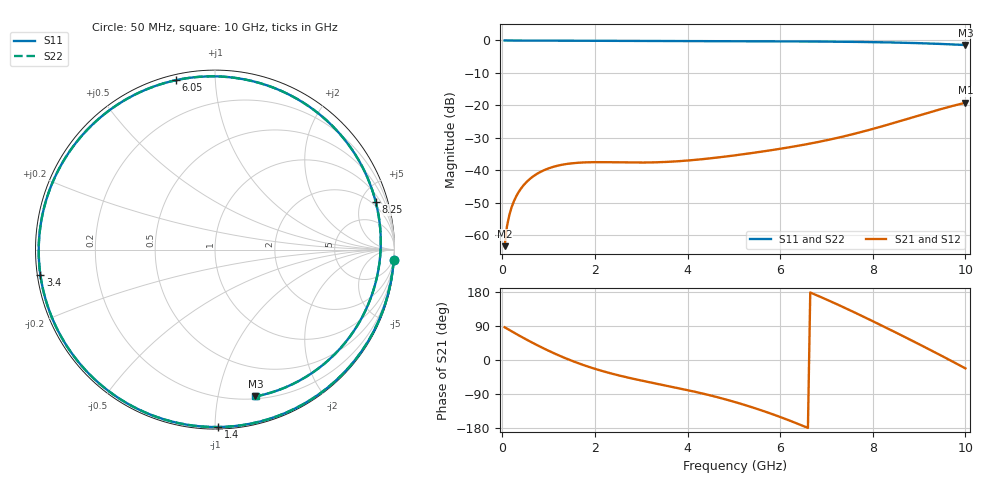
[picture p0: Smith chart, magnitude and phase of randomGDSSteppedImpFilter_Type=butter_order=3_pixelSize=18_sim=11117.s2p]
! freq	dB(S11)	phase(S11)	dB(S12)	phase(S12)
!  dB(S21)	phase(S21)	dB(S22)	phase(S22)
!S-par simulation data
#  GHz  S  DB  R 50
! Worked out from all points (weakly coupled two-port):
!   200 points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, 50 MHz to 10 GHz, reference 50 ohm
!   highest |S21| = -19.21 dB at 10 GHz (marker M1); lowest = -63.4 dB at 50 MHz (marker M2)
!   lowest |S11| = -1.4 dB at 10 GHz (marker M3), VSWR 12.22, Z = 11 - j64.5 ohm
!   |S11| at or under -10 dB: nowhere
!   |S22| runs from -1.4 to 0.0 dB; largest |S21 - S12| = 0
!   S11 on the Smith chart (normalised r, x): 50 MHz: 1, -34; 1.4 GHz: 0.01, -1.02; 3.4 GHz: 0.01, -0.07; 6.05 GHz: 0.03, +0.79; 8.25 GHz: 1.57, +6.54; 10 GHz: 0.22, -1.29
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0.05  -0.02 -3.4  -63.40 86.4  -63.40 86.4  -0.02 -3.4
0.1  -0.03 -6.9  -57.40 82.9  -57.40 82.9  -0.03 -6.9
0.15  -0.04 -10.4  -53.91 79.3  -53.91 79.3  -0.04 -10.4
0.25  -0.04 -17.4  -49.57 72.3  -49.57 72.3  -0.04 -17.4
0.4  -0.05 -27.7  -45.72 62.1  -45.72 62.1  -0.05 -27.7
0.6  -0.06 -41.2  -42.64 48.8  -42.64 48.8  -0.06 -41.2
0.9  -0.07 -60.3  -39.99 30.2  -39.99 30.2  -0.07 -60.3
1.4  -0.10 -89.0  -38.05 2.9  -38.05 2.9  -0.10 -89.0
1.75  -0.11 -106.7  -37.60 -13.2  -37.60 -13.2  -0.11 -106.7
2.55  -0.13 -141.1  -37.59 -41.7  -37.59 -41.7  -0.13 -141.1
3.4  -0.15 -171.6  -37.52 -64.2  -37.52 -64.2  -0.15 -171.7
4.2  -0.17 162.5  -36.76 -84.9  -36.76 -84.9  -0.18 162.4
5.05  -0.21 135.8  -35.37 -111.8  -35.37 -111.8  -0.21 135.7
6.05  -0.28 103.1  -33.28 -152.6  -33.28 -152.6  -0.28 103.0
6.7  -0.33 80.1  -31.64 175.5  -31.64 175.5  -0.33 80.0
7.45  -0.43 51.1  -29.31 134.5  -29.31 134.5  -0.43 51.0
8.25  -0.59 16.5  -26.27 87.5  -26.27 87.5  -0.59 16.4
8.35  -0.62 11.9  -25.86 81.5  -25.86 81.5  -0.62 11.8
8.75  -0.75 -7.3  -24.18 57.1  -24.18 57.1  -0.75 -7.3
9.15  -0.92 -27.5  -22.49 32.3  -22.49 32.3  -0.92 -27.6
9.6  -1.16 -51.7  -20.67 3.9  -20.67 3.9  -1.16 -51.7
10  -1.42 -74.6  -19.21 -22.2  -19.21 -22.2  -1.42 -74.6
